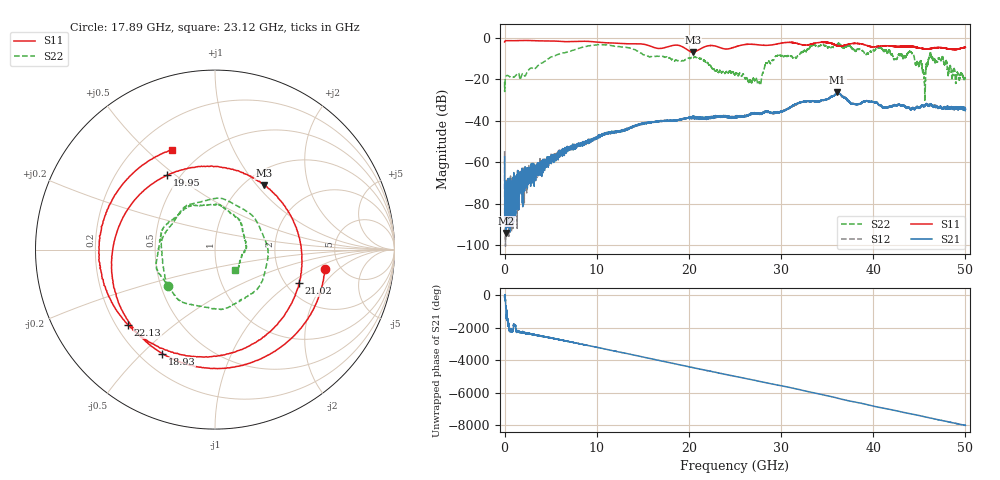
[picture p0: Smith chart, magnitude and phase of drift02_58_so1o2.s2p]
!Created with skrf (http://scikit-rf.org).
# Hz S RI R 50.0
!freq ReS11 ImS11 ReS21 ImS21 ReS12 ImS12 ReS22 ImS22
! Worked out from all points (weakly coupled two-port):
!   10001 points, 300 kHz to 50 GHz, reference 50 ohm
!   highest |S21| = -26.33 dB at 36.12 GHz (marker M1); lowest = -94.1 dB at 175.3 MHz (marker M2)
!   lowest |S11| = -6.9 dB at 20.45 GHz (marker M3), VSWR 2.64, Z = 60.4 + j54.5 ohm
!   |S11| at or under -10 dB: nowhere
!   |S22| runs from -30.2 to -2.5 dB; largest |S21 - S12| = 0.0047
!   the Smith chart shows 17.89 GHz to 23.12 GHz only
!   S11 on the Smith chart (normalised r, x): 17.89 GHz: 3.76, -1.35; 18.93 GHz: 0.29, -0.58; 19.95 GHz: 0.43, +0.47; 21.02 GHz: 2.35, -1.18; 22.13 GHz: 0.25, -0.35; 23.12 GHz: 0.34, +0.60
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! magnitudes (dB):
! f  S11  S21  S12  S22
! 300 kHz  -2.1  -57.4  -54.6  -21.4
! 175.3 MHz  -1.4  -94.1  -75.7  -18.4
! 375.3 MHz  -1.4  -80.2  -72.8  -18.3
! 8.335 GHz  -1.7  -51.1  -51.1  -4.7
! 16.67 GHz  -5.2  -40.3  -40.2  -9.0
! 17.89 GHz  -4.1  -39.9  -40.1  -9.6
! 18.93 GHz  -3.7  -39.6  -39.5  -10.8
! 19.95 GHz  -6.1  -38.6  -38.6  -9.9
! 20.45 GHz  -6.9  -38.4  -38.8  -9.8
! 21.02 GHz  -5.9  -38.9  -38.5  -9.4
! 22.13 GHz  -3.9  -38.6  -39.1  -12.8
! 23.12 GHz  -4.4  -37.8  -38.1  -16.0
! 25 GHz  -4.5  -38.4  -38.4  -17.9
! 27.63 GHz  -3.5  -36.9  -36.7  -21.4
! 29.54 GHz  -3.1  -36.0  -36.1  -8.8
! 33.34 GHz  -3.0  -30.6  -30.6  -3.8
! 36.12 GHz  -3.8  -26.3  -26.9  -3.2
! 41.67 GHz  -3.9  -33.4  -33.4  -6.0
! 44.14 GHz  -4.2  -34.2  -34.4  -7.1
! 45.5 GHz  -5.4  -32.8  -33.0  -17.3
! 46.29 GHz  -5.2  -32.5  -32.4  -9.6
! 50 GHz  -4.7  -34.6  -34.7  -19.9
